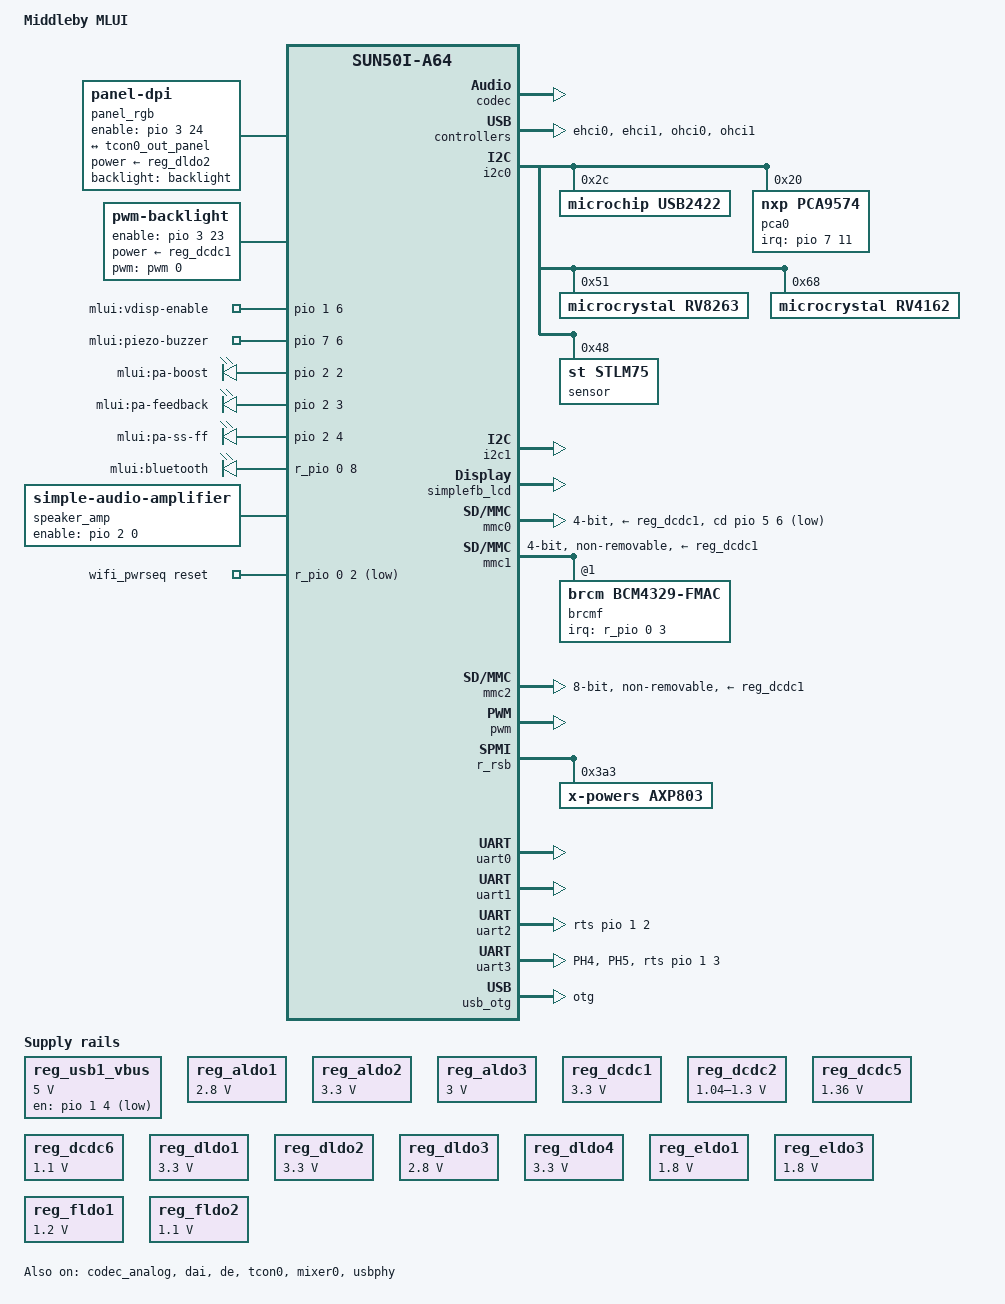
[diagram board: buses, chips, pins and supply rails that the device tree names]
// SPDX-License-Identifier: (GPL-2.0+ OR MIT)
// Copyright (C) 2021 Rudolf J Streif <rudolf.streif@ibeeto.com>
// Based on work of Jagan Teki <jteki@openedev.com>

#include "sun50i-a64.dtsi"
#include "sun50i-a64-cpu-opp.dtsi"

#include <dt-bindings/gpio/gpio.h>
#include <dt-bindings/input/input.h>
#include <dt-bindings/pwm/pwm.h>

/ {
        model = "Middleby MLUI";
        compatible = "middleby,mlui", "allwinner,sun50i-a64";

        aliases {
                serial0 = &uart0;
        };

        panel_rgb: panel-rgb {
                compatible = "panel-dpi";
                backlight = <&backlight>;
                power-supply = <&reg_dldo2>;
                enable-gpios = <&pio 3 24 GPIO_ACTIVE_HIGH>; /* PD24 */

                port {
                        panel_rgb_in: endpoint {
                                remote-endpoint = <&tcon0_out_panel>;
                        };
                };
        };

        chosen {
                stdout-path = "serial0:115200n8";
        };

        backlight: backlight {
                compatible = "pwm-backlight";
                pwms = <&pwm 0 5000000 0>;
                power-supply = <&reg_dcdc1>;
                brightness-levels = <0 1 2 4 8 16 32 64 128 255>;
                default-brightness-level = <5>;
                enable-gpios = <&pio 3 23 GPIO_ACTIVE_HIGH>; /* PD23 LCD-BL_EN */
        };

        leds {
                compatible = "gpio-leds";
                vdisp {
                       label = "mlui:vdisp-enable";
                       gpios = <&pio 1 6 GPIO_ACTIVE_HIGH>; /* PB6 12 V BOOST */
                       default-state = "on";
                };
                buzzer {
                    label = "mlui:piezo-buzzer";
                    gpios = <&pio 7 6 GPIO_ACTIVE_HIGH>; /* PH6 PIEZO BUZZER */
                    default-state = "off";
                };
                pa_boost {
                    label = "mlui:pa-boost";
                    gpios = <&pio 2 2 GPIO_ACTIVE_HIGH>; /* PC2 AUDIO AMP BOOST */
                    default-state = "on";
                };
                pa_feedback {
                    label = "mlui:pa-feedback";
                    gpios = <&pio 2 3 GPIO_ACTIVE_HIGH>; /* PC3 AUDIO AMP FEEDBACK SELECT */
                    default-state = "off";
                };
                pa_ss_ff {
                    label = "mlui:pa-ss-ff";
                    gpios = <&pio 2 4 GPIO_ACTIVE_HIGH>; /* PC4 AUDIO AMP MODULATION SELECT */
                    default-state = "off";
                };
                bluetooth {
                    label = "mlui:bluetooth";
                    gpios = <&r_pio 0 8 GPIO_ACTIVE_HIGH>; /* PL8 BLUETOOTH ENABLE */
                    default-state = "on";
                };
        };

        speaker_amp: audio-amplifier {
            compatible = "simple-audio-amplifier";
            enable-gpios = <&pio 2 0 GPIO_ACTIVE_HIGH>; /* PC0 AUDIO AMP ENABLE */
            sound-name-prefix = "Speaker Amp";
            status = "okay";
        };

        reg_usb1_vbus: usb1-vbus {
                compatible = "regulator-fixed";
                regulator-name = "usb1-vbus";
                regulator-min-microvolt = <5000000>;
                regulator-max-microvolt = <5000000>;
                regulator-boot-on;
                gpio = <&pio 1 4 GPIO_ACTIVE_LOW>; /* PB4 */
                status = "okay";
        };

	wifi_pwrseq: wifi_pwrseq {
		compatible = "mmc-pwrseq-simple";
		reset-gpios = <&r_pio 0 2 GPIO_ACTIVE_LOW>; /* PL2 */
	};
};

&cpu0 {
	cpu-supply = <&reg_dcdc2>;
};

&cpu1 {
	cpu-supply = <&reg_dcdc2>;
};

&cpu2 {
	cpu-supply = <&reg_dcdc2>;
};

&cpu3 {
	cpu-supply = <&reg_dcdc2>;
};

&codec {
        status = "okay";
};

&codec_analog {
        cpvdd-supply = <&reg_eldo1>;
        status = "okay";
};

&dai {
        status = "okay";
};

&de {
	status = "okay";
};

&ehci0 {
	status = "okay";
};

&ehci1 {
	status = "okay";
};

&i2c0 {
        status = "okay";

        usb2422@2c {
                compatible = "microchip,usb2422";
                reg = <0x2c>;
        };

        pca0: pca9574@20 {
                compatible = "nxp,pca9574";
                reg = <0x20>;
                gpio-controller;
                #gpio-cells = <2>;
                interrupt-parent = <&pio>;
                interrupts = <7 11 IRQ_TYPE_LEVEL_LOW>; /* PH11 */
                gpio-line-names = "br_in_1", "br_out_1", "ssr_in_1", "ssr_in_2",
                                  "ssr_in_3", "ssr_out_1", "ssr_out_2", "ssr_out_3";
        };

        rv8263@51 {
                compatible = "microcrystal,rv8263";
                reg = <0x51>;
        };

        rv4162@68 {
                compatible = "microcrystal,rv4162";
                reg = <0x68>;
        };

        sensor@48 {
                compatible = "st,stlm75";
                reg = <0x48>;
        };
};

&rtc {
    status = "disabled";
};

&i2c1 {
    status = "okay";
};

&simplefb_lcd {
        panel-supply = <&reg_dldo2>;
	status = "okay";
};

&tcon0 {
        pinctrl-names = "default";
        pinctrl-0 = <&lcd_rgb666_pins>;
        status = "okay";
};

&tcon0_out {
        tcon0_out_panel: endpoint {
                remote-endpoint = <&panel_rgb_in>;
        };
};

&mixer0 {
        status = "okay";
};

&mmc0 {
	pinctrl-names = "default";
	pinctrl-0 = <&mmc0_pins>;
	vmmc-supply = <&reg_dcdc1>;
	cd-gpios = <&pio 5 6 GPIO_ACTIVE_LOW>;
	disable-wp;
	bus-width = <4>;
	status = "okay";
};

&mmc1 {
	pinctrl-names = "default";
	pinctrl-0 = <&mmc1_pins>;
	vmmc-supply = <&reg_dcdc1>;
	vqmmc-supply = <&reg_dldo4>;
	mmc-pwrseq = <&wifi_pwrseq>;
	bus-width = <4>;
	non-removable;
	status = "okay";

	brcmf: wifi@1 {
		reg = <1>;
		compatible = "brcm,bcm4329-fmac";
                interrupt-parent = <&r_pio>;
                interrupts = <0 3 IRQ_TYPE_LEVEL_LOW>; /* PL3 */
                interrupt-names = "host-wake";
	};
};

&mmc2 {
	pinctrl-names = "default";
	pinctrl-0 = <&mmc2_pins>;
	vmmc-supply = <&reg_dcdc1>;
	vqmmc-supply = <&reg_dcdc1>;
	bus-width = <8>;
	non-removable;
	cap-mmc-hw-reset;
	status = "okay";
};

&pwm {
	status = "okay";
};

&pwm_pin {
        bias-pull-up;
};


&ohci0 {
	status = "okay";
};

&ohci1 {
	status = "okay";
};

&pio {
	vcc-pc-supply = <&reg_dcdc1>;
	vcc-pd-supply = <&reg_dcdc1>;
	vcc-pe-supply = <&reg_dldo3>;
	vcc-pg-supply = <&reg_dldo4>;

    ctp_pins: ctp-pins {
		pins = "PH7", "PH8";
        function = "ctp";
    };

    uart3_ph_pins: uart3-ph-pins {
        pins = "PH4", "PH5";
        function = "uart3";
    };

    mlui_hwrev_pins: mlui-hwrev-pins {
		pins = "PG10", "PG11", "PG12";
		function = "hwrev";
		gpio-line-names = "HWREV0", "HWREV2", "HWREV01";
	};
};

&r_pio {
	/*
	 * FIXME: We can't add that supply for now since it would
	 * create a circular dependency between pinctrl, the regulator
	 * and the RSB Bus.
	 *
	 * vcc-pl-supply = <&reg_aldo2>;
	 */
};

&pio {
	vcc-pa-supply = <&reg_dcdc1>;
	vcc-pb-supply = <&reg_dcdc1>;
	vcc-pc-supply = <&reg_dcdc1>;
	vcc-pd-supply = <&reg_dcdc1>;
	vcc-pe-supply = <&reg_aldo1>;
	vcc-pf-supply = <&reg_dcdc1>;
	vcc-pg-supply = <&reg_dldo4>;
	vcc-ph-supply = <&reg_dcdc1>;
};

&r_rsb {
	status = "okay";

	axp803: pmic@3a3 {
		compatible = "x-powers,axp803";
		reg = <0x3a3>;
		interrupt-parent = <&r_intc>;
		interrupts = <0 IRQ_TYPE_LEVEL_LOW>;
		x-powers,drive-vbus-en;	/* set N_VBUSEN as output pin */
	};
};

/* VCC-PL is powered by aldo2 but we cannot add it as the RSB */
/* interface used to talk to the PMIC in on the PL pins */
/* &r_pio { */
/*	vcc-pl-supply = <&reg_aldo2>; */
/* }; */

#include "axp803.dtsi"

&ac_power_supply {
	status = "okay";
};

&battery_power_supply {
	status = "okay";
};

&reg_aldo1 {
	regulator-always-on;
	regulator-min-microvolt = <2800000>;
	regulator-max-microvolt = <2800000>;
	regulator-name = "vcc-pe";
};

&reg_aldo2 {
	regulator-always-on;
	regulator-min-microvolt = <3300000>;
	regulator-max-microvolt = <3300000>;
	regulator-name = "vcc-pl";
};

&reg_aldo3 {
	regulator-always-on;
	regulator-min-microvolt = <3000000>;
	regulator-max-microvolt = <3000000>;
	regulator-name = "vcc-pll-avcc";
};

&reg_dcdc1 {
	regulator-always-on;
	regulator-min-microvolt = <3300000>;
	regulator-max-microvolt = <3300000>;
	regulator-name = "vcc-3v3";
};

&reg_dcdc2 {
	regulator-always-on;
	regulator-min-microvolt = <1040000>;
	regulator-max-microvolt = <1300000>;
	regulator-name = "vdd-cpux";
};

/* DCDC3 is polyphased with DCDC2 */

/*
 * The board uses DDR3L DRAM chips. 1.36V is the closest to the nominal
 * 1.35V that the PMIC can drive.
 */
&reg_dcdc5 {
	regulator-always-on;
	regulator-min-microvolt = <1360000>;
	regulator-max-microvolt = <1360000>;
	regulator-name = "vcc-ddr3";
};

&reg_dcdc6 {
	regulator-always-on;
	regulator-min-microvolt = <1100000>;
	regulator-max-microvolt = <1100000>;
	regulator-name = "vdd-sys";
};

&reg_dldo1 {
	regulator-always-on;
	regulator-min-microvolt = <3300000>;
	regulator-max-microvolt = <3300000>;
	regulator-name = "vcc-sensor";
};

&reg_dldo2 {
	regulator-always-on;
	regulator-min-microvolt = <3300000>;
	regulator-max-microvolt = <3300000>;
	regulator-name = "vcc-mipi";
};

&reg_dldo3 {
	regulator-min-microvolt = <2800000>;
	regulator-max-microvolt = <2800000>;
	regulator-name = "vcc-avdd-csi";
};

&reg_dldo4 {
	regulator-min-microvolt = <3300000>;
	regulator-max-microvolt = <3300000>;
	regulator-name = "vcc-wifi-io";
};

&reg_drivevbus {
	regulator-name = "usb0-vbus";
	status = "okay";
};

&reg_eldo1 {
	regulator-always-on;
	regulator-min-microvolt = <1800000>;
	regulator-max-microvolt = <1800000>;
	regulator-name = "cpvdd";
};

&reg_eldo3 {
	regulator-min-microvolt = <1800000>;
	regulator-max-microvolt = <1800000>;
	regulator-name = "vcc-dvdd-csi";
};

&reg_fldo1 {
	regulator-min-microvolt = <1200000>;
	regulator-max-microvolt = <1200000>;
	regulator-name = "vcc-1v2-hsic";
};

/*
 * The A64 chip cannot work without this regulator off, although
 * it seems to be only driving the AR100 core.
 * Maybe we don't still know well about CPUs domain.
 */
&reg_fldo2 {
	regulator-always-on;
	regulator-min-microvolt = <1100000>;
	regulator-max-microvolt = <1100000>;
	regulator-name = "vdd-cpus";
};

&reg_rtc_ldo {
	regulator-always-on;
	regulator-name = "vcc-rtc";
};

&reg_ldo_io0 {
	regulator-always-on;
	regulator-name = "vcc-ctp";
	status = "okay";
};

/* console */
&uart0 {
        pinctrl-names = "default";
        pinctrl-0 = <&uart0_pb_pins>;
        status = "okay";
};

/* Bluetooth */
&uart1 {
        pinctrl-names = "default";
        pinctrl-0 = <&uart1_pins>, <&uart1_rts_cts_pins>;
        uart-has-rtscts;
        status = "okay";
};

/* RS485 BR_IO */
&uart2 {
        pinctrl-names = "default";
        pinctrl-0 = <&uart2_pins>;
        rts-gpios = <&pio 1 2 GPIO_ACTIVE_HIGH>;
        status = "okay";
};

/* RS485 SSR_IO */
&uart3 {
        pinctrl-names = "default";
        pinctrl-0 = <&uart3_ph_pins>;
        rts-gpios = <&pio 1 3 GPIO_ACTIVE_HIGH>;
        status = "okay";
};

&usb_otg {
	dr_mode = "otg";
	status = "okay";
};

&usbphy {
	usb0_id_det-gpios = <&pio 7 9 GPIO_ACTIVE_HIGH>; /* PH9 */
	usb0_vbus-supply = <&reg_drivevbus>;
	usb1_vbus-supply = <&reg_usb1_vbus>;
	status = "okay";
};

&sound {
        simple-audio-card,aux-devs = <&codec_analog>, <&speaker_amp>;
        simple-audio-card,widgets = "Microphone", "Internal Microphone Left",
                                    "Microphone", "Internal Microphone Right",
                                    "Headphone", "Headphone Jack",
                                    "Speaker", "Internal Speaker";
        simple-audio-card,routing =
                        "Left DAC", "DACL",
                        "Right DAC", "DACR",
                        "Speaker Amp INL", "LINEOUT",
                        "Speaker Amp INR", "LINEOUT",
                        "Internal Speaker", "Speaker Amp OUTL",
                        "Internal Speaker", "Speaker Amp OUTR",
                        "Headphone Jack", "HP",
                        "ADCL", "Left ADC",
                        "ADCR", "Right ADC",
                        "Internal Microphone Left", "MBIAS",
                        "MIC1", "Internal Microphone Left",
                        "Internal Microphone Right", "HBIAS",
                        "MIC2", "Internal Microphone Right";
        status = "okay";
};


